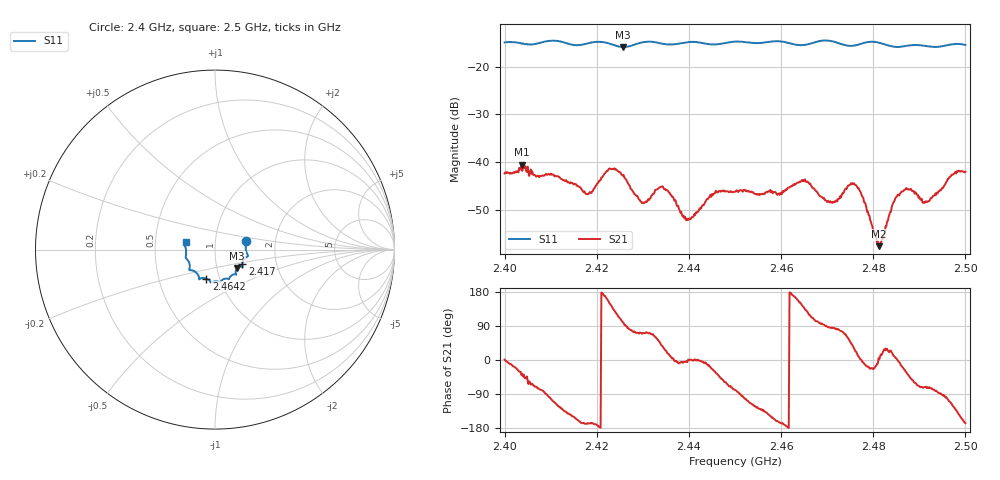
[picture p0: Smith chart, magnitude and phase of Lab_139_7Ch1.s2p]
# Hz S RI R 50
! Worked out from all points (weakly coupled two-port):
!   601 points, 2.4 GHz to 2.5 GHz, reference 50 ohm
!   highest |S21| = -40.57 dB at 2.4037 GHz (marker M1); lowest = -57.6 dB at 2.4812 GHz (marker M2)
!   lowest |S11| = -15.9 dB at 2.4257 GHz (marker M3), VSWR 1.38, Z = 62.5 - j13.1 ohm
!   |S11| at or under -10 dB: start of sweep to end of sweep
!   S12 and S22 are empty: the file has one direction only
!   S11 on the Smith chart (normalised r, x): 2.4 GHz: 1.41, +0.14; 2.417 GHz: 1.34, -0.22; 2.4642 GHz: 0.86, -0.29; 2.5 GHz: 0.72, +0.06
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2.4e9  0.1728 0.0492  0.00761 0.000115  0 0  0 0
2.403667e9  0.1719 0.0286  0.00713 -0.00607  0 0  0 0
2.416667e9  0.1524 -0.0745  -0.00505 -0.00129  0 0  0 0
2.417e9  0.1518 -0.0784  -0.00481 -0.00116  0 0  0 0
2.418667e9  0.1524 -0.0932  -0.00465 -0.00114  0 0  0 0
2.423e9  0.1457 -0.0937  -0.00706 0.00475  0 0  0 0
2.425667e9  0.1234 -0.1024  -0.00118 0.00709  0 0  0 0
2.43e9  0.1174 -0.1369  0.00124 0.00354  0 0  0 0
2.433333e9  0.1127 -0.1376  0.00323 0.00416  0 0  0 0
2.439833e9  0.0791 -0.1627  0.00252 5.39e-05  0 0  0 0
2.4455e9  0.0517 -0.1628  0.00409 -0.00231  0 0  0 0
2.45e9  0.0287 -0.181  0.00095 -0.0048  0 0  0 0
2.459667e9  -0.0239 -0.183  -0.00438 -0.00116  0 0  0 0
2.464167e9  -0.0479 -0.1612  -0.00545 0.00295  0 0  0 0
2.466667e9  -0.0758 -0.1592  -0.00204 0.00515  0 0  0 0
2.471167e9  -0.0877 -0.1622  0.000387 0.00372  0 0  0 0
2.476e9  -0.1163 -0.1192  0.00518 0.00257  0 0  0 0
2.481167e9  -0.1425 -0.1079  0.00131 0.000106  0 0  0 0
2.483333e9  -0.1405 -0.0896  0.00246 0.000989  0 0  0 0
2.486667e9  -0.1529 -0.0578  0.00461 -0.00213  0 0  0 0
2.491667e9  -0.1615 -0.0288  0.00103 -0.00367  0 0  0 0
2.5e9  -0.1636 0.0427  -0.00771 -0.00185  0 0  0 0
